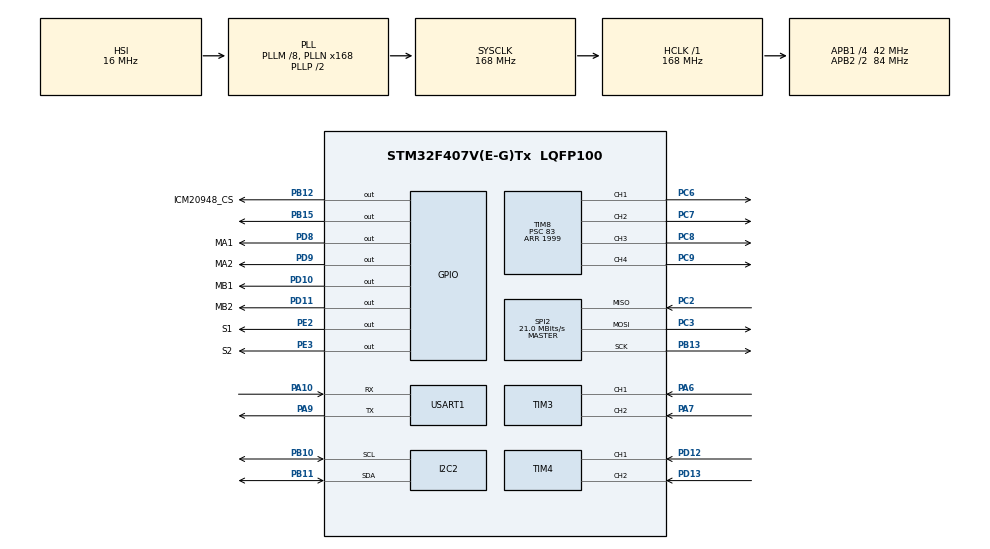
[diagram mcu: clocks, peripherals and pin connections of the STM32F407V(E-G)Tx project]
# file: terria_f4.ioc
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Dma.Request0=USART1_TX
Dma.USART1_TX.0.Direction=DMA_MEMORY_TO_PERIPH
Dma.USART1_TX.0.FIFOMode=DMA_FIFOMODE_DISABLE
Dma.USART1_TX.0.Instance=DMA2_Stream7
Dma.USART1_TX.0.MemDataAlignment=DMA_MDATAALIGN_BYTE
Dma.USART1_TX.0.MemInc=DMA_MINC_ENABLE
Dma.USART1_TX.0.Mode=DMA_NORMAL
Dma.USART1_TX.0.PeriphDataAlignment=DMA_PDATAALIGN_BYTE
Dma.USART1_TX.0.PeriphInc=DMA_PINC_DISABLE
Dma.USART1_TX.0.Priority=DMA_PRIORITY_LOW
Mcu.Family=STM32F4
Mcu.Name=STM32F407V(E-G)Tx
Mcu.Package=LQFP100
NVIC.DMA2_Stream7_IRQn=true\:0\:0\:false\:false\:true\:false\:true\:true
NVIC.PriorityGroup=NVIC_PRIORITYGROUP_4
NVIC.TIM7_IRQn=true\:0\:0\:false\:false\:true\:true\:true\:true
NVIC.USART1_IRQn=true\:0\:0\:false\:false\:true\:true\:true\:true
PA10.Mode=Asynchronous
PA10.Signal=USART1_RX
PA13.Mode=Serial_Wire
PA13.Signal=SYS_JTMS-SWDIO
PA14.Mode=Serial_Wire
PA14.Signal=SYS_JTCK-SWCLK
PA6.Signal=S_TIM3_CH1
PA7.Signal=S_TIM3_CH2
PA9.Mode=Asynchronous
PA9.Signal=USART1_TX
PB10.Mode=I2C
PB10.Signal=I2C2_SCL
PB11.Mode=I2C
PB11.Signal=I2C2_SDA
PB12.GPIO_Label=ICM20948_CS
PB12.Signal=GPIO_Output
PB13.Mode=Full_Duplex_Master
PB13.Signal=SPI2_SCK
PB15.Signal=GPIO_Output
PC2.Mode=Full_Duplex_Master
PC2.Signal=SPI2_MISO
PC3.Mode=Full_Duplex_Master
PC3.Signal=SPI2_MOSI
PC6.Signal=S_TIM8_CH1
PC7.Signal=S_TIM8_CH2
PC8.Signal=S_TIM8_CH3
PC9.Signal=S_TIM8_CH4
PD10.GPIO_Label=MB1
PD10.Signal=GPIO_Output
PD11.GPIO_Label=MB2
PD11.Signal=GPIO_Output
PD12.Signal=S_TIM4_CH1
PD13.Signal=S_TIM4_CH2
PD8.GPIO_Label=MA1
PD8.Signal=GPIO_Output
PD9.GPIO_Label=MA2
PD9.Signal=GPIO_Output
PE2.GPIO_Label=S1
PE2.GPIO_Speed=GPIO_SPEED_FREQ_HIGH
PE2.PinState=GPIO_PIN_RESET
PE2.Signal=GPIO_Output
PE3.GPIO_Label=S2
PE3.GPIO_Speed=GPIO_SPEED_FREQ_HIGH
PE3.PinState=GPIO_PIN_RESET
PE3.Signal=GPIO_Output
PH0-OSC_IN.Mode=HSE-External-Oscillator
PH0-OSC_IN.Signal=RCC_OSC_IN
PH1-OSC_OUT.Mode=HSE-External-Oscillator
PH1-OSC_OUT.Signal=RCC_OSC_OUT
ProjectManager.HeapSize=0x200
ProjectManager.StackSize=0x400
ProjectManager.TargetToolchain=STM32CubeIDE
RCC.48MHZClocksFreq_Value=84000000
RCC.AHBFreq_Value=168000000
RCC.APB1CLKDivider=RCC_HCLK_DIV4
RCC.APB1Freq_Value=42000000
RCC.APB1TimFreq_Value=84000000
RCC.APB2CLKDivider=RCC_HCLK_DIV2
RCC.APB2Freq_Value=84000000
RCC.APB2TimFreq_Value=168000000
RCC.CortexFreq_Value=168000000
RCC.HCLKFreq_Value=168000000
RCC.HSE_VALUE=25000000
RCC.HSI_VALUE=16000000
RCC.LSE_VALUE=32768
RCC.PLLM=8
RCC.PLLN=168
RCC.SYSCLKFreq_VALUE=168000000
RCC.SYSCLKSource=RCC_SYSCLKSOURCE_PLLCLK
RCC.VCOOutputFreq_Value=336000000
SH.S_TIM3_CH1.0=TIM3_CH1,Encoder_Interface
SH.S_TIM3_CH2.0=TIM3_CH2,Encoder_Interface
SH.S_TIM4_CH1.0=TIM4_CH1,Encoder_Interface
SH.S_TIM4_CH2.0=TIM4_CH2,Encoder_Interface
SH.S_TIM8_CH1.0=TIM8_CH1,PWM Generation1 CH1
SH.S_TIM8_CH2.0=TIM8_CH2,PWM Generation2 CH2
SH.S_TIM8_CH3.0=TIM8_CH3,PWM Generation3 CH3
SH.S_TIM8_CH4.0=TIM8_CH4,PWM Generation4 CH4
SPI2.CalculateBaudRate=21.0 MBits/s
SPI2.Direction=SPI_DIRECTION_2LINES
SPI2.Mode=SPI_MODE_MASTER
SPI2.VirtualType=VM_MASTER
TIM7.Period=9
TIM7.Prescaler=167
TIM8.AutoReloadPreload=TIM_AUTORELOAD_PRELOAD_ENABLE
TIM8.Channel-PWM\ Generation1\ CH1=TIM_CHANNEL_1
TIM8.Channel-PWM\ Generation2\ CH2=TIM_CHANNEL_2
TIM8.Channel-PWM\ Generation3\ CH3=TIM_CHANNEL_3
TIM8.Channel-PWM\ Generation4\ CH4=TIM_CHANNEL_4
TIM8.Period=1999
TIM8.Prescaler=83
USART1.VirtualMode=VM_ASYNC
VP_TIM7_VS_ClockSourceINT.Mode=Enable_Timer
board=custom

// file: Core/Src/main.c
/* USER CODE BEGIN Header */
/**
  ******************************************************************************
  * @file           : main.c
  * @brief          : Main program body
  ******************************************************************************
  * @attention
  *
  * Copyright (c) 2024 STMicroelectronics.
  * All rights reserved.
  *
  * This software is licensed under terms that can be found in the LICENSE file
  * in the root directory of this software component.
  * If no LICENSE file comes with this software, it is provided AS-IS.
  *
  ******************************************************************************
  */
/* USER CODE END Header */
#include "main.h"

/* USER CODE BEGIN Includes */
//#include "bsp.h"
#include "motor.h"
/* USER CODE END Includes */

I2C_HandleTypeDef hi2c2;

SPI_HandleTypeDef hspi2;

TIM_HandleTypeDef htim3;
TIM_HandleTypeDef htim4;
TIM_HandleTypeDef htim7;
TIM_HandleTypeDef htim8;

UART_HandleTypeDef huart1;
DMA_HandleTypeDef hdma_usart1_tx;

/* USER CODE BEGIN PV */
int speed =1000;
/* USER CODE END PV */

void SystemClock_Config(void);
static void MX_GPIO_Init(void);
static void MX_DMA_Init(void);
static void MX_I2C2_Init(void);
static void MX_SPI2_Init(void);
static void MX_TIM3_Init(void);
static void MX_TIM4_Init(void);
static void MX_TIM7_Init(void);
static void MX_TIM8_Init(void);
static void MX_USART1_UART_Init(void);

int main(void)
{

  /* MCU Configuration--------------------------------------------------------*/

  /* Reset of all peripherals, Initializes the Flash interface and the Systick. */
                                         HAL_Init();

  /* Configure the system clock */
  SystemClock_Config();

  /* Initialize all configured peripherals */
  MX_GPIO_Init();
  MX_DMA_Init();
  MX_I2C2_Init();
  MX_SPI2_Init();
  MX_TIM3_Init();
  MX_TIM4_Init();
  MX_TIM7_Init();
  MX_TIM8_Init();
  MX_USART1_UART_Init();
  /* USER CODE BEGIN 2 */
  HAL_GPIO_WritePin(GPIOD,GPIO_PIN_9,0);
  HAL_GPIO_WritePin(GPIOD,GPIO_PIN_8,1);
  HAL_GPIO_WritePin(GPIOB,GPIO_PIN_15 ,1);
  /* USER CODE END 2 */

  /* Infinite loop */
  /* USER CODE BEGIN WHILE */
  while (1)
  {
	  htim8.Instance->CCR2 = speed;
	  HAL_Delay(1000);
	  htim8.Instance->CCR2 = speed/2;
	  HAL_Delay(1000);
	  //HAL_Delay(10);
	  //Bsp_Loop();
		//Motor_Set_Pwm(MOTOR_ID_M1, speed);
		//Motor_Set_Pwm(MOTOR_ID_M2, -(speed));
    /* USER CODE END WHILE */

  }
}

void SystemClock_Config(void)
{
  RCC_OscInitTypeDef RCC_OscInitStruct = {0};
  RCC_ClkInitTypeDef RCC_ClkInitStruct = {0};

  /** Configure the main internal regulator output voltage
  */
  __HAL_RCC_PWR_CLK_ENABLE();
  __HAL_PWR_VOLTAGESCALING_CONFIG(PWR_REGULATOR_VOLTAGE_SCALE1);

  /** Initializes the RCC Oscillators according to the specified parameters
  * in the RCC_OscInitTypeDef structure.
  */
  RCC_OscInitStruct.OscillatorType = RCC_OSCILLATORTYPE_HSI;
  RCC_OscInitStruct.HSIState = RCC_HSI_ON;
  RCC_OscInitStruct.HSICalibrationValue = RCC_HSICALIBRATION_DEFAULT;
  RCC_OscInitStruct.PLL.PLLState = RCC_PLL_ON;
  RCC_OscInitStruct.PLL.PLLSource = RCC_PLLSOURCE_HSI;
  RCC_OscInitStruct.PLL.PLLM = 8;
  RCC_OscInitStruct.PLL.PLLN = 168;
  RCC_OscInitStruct.PLL.PLLP = RCC_PLLP_DIV2;
  RCC_OscInitStruct.PLL.PLLQ = 4;
  if (HAL_RCC_OscConfig(&RCC_OscInitStruct) != HAL_OK)
  {
    Error_Handler();
  }

  /** Initializes the CPU, AHB and APB buses clocks
  */
  RCC_ClkInitStruct.ClockType = RCC_CLOCKTYPE_HCLK|RCC_CLOCKTYPE_SYSCLK
                              |RCC_CLOCKTYPE_PCLK1|RCC_CLOCKTYPE_PCLK2;
  RCC_ClkInitStruct.SYSCLKSource = RCC_SYSCLKSOURCE_PLLCLK;
  RCC_ClkInitStruct.AHBCLKDivider = RCC_SYSCLK_DIV1;
  RCC_ClkInitStruct.APB1CLKDivider = RCC_HCLK_DIV4;
  RCC_ClkInitStruct.APB2CLKDivider = RCC_HCLK_DIV2;

  if (HAL_RCC_ClockConfig(&RCC_ClkInitStruct, FLASH_LATENCY_5) != HAL_OK)
  {
    Error_Handler();
  }
}

static void MX_I2C2_Init(void)
{

  hi2c2.Instance = I2C2;
  hi2c2.Init.ClockSpeed = 100000;
  hi2c2.Init.DutyCycle = I2C_DUTYCYCLE_2;
  hi2c2.Init.OwnAddress1 = 0;
  hi2c2.Init.AddressingMode = I2C_ADDRESSINGMODE_7BIT;
  hi2c2.Init.DualAddressMode = I2C_DUALADDRESS_DISABLE;
  hi2c2.Init.OwnAddress2 = 0;
  hi2c2.Init.GeneralCallMode = I2C_GENERALCALL_DISABLE;
  hi2c2.Init.NoStretchMode = I2C_NOSTRETCH_DISABLE;
  if (HAL_I2C_Init(&hi2c2) != HAL_OK)
  {
    Error_Handler();
  }

}

static void MX_SPI2_Init(void)
{

  /* SPI2 parameter configuration*/
  hspi2.Instance = SPI2;
  hspi2.Init.Mode = SPI_MODE_MASTER;
  hspi2.Init.Direction = SPI_DIRECTION_2LINES;
  hspi2.Init.DataSize = SPI_DATASIZE_8BIT;
  hspi2.Init.CLKPolarity = SPI_POLARITY_LOW;
  hspi2.Init.CLKPhase = SPI_PHASE_1EDGE;
  hspi2.Init.NSS = SPI_NSS_SOFT;
  hspi2.Init.BaudRatePrescaler = SPI_BAUDRATEPRESCALER_2;
  hspi2.Init.FirstBit = SPI_FIRSTBIT_MSB;
  hspi2.Init.TIMode = SPI_TIMODE_DISABLE;
  hspi2.Init.CRCCalculation = SPI_CRCCALCULATION_DISABLE;
  hspi2.Init.CRCPolynomial = 10;
  if (HAL_SPI_Init(&hspi2) != HAL_OK)
  {
    Error_Handler();
  }

}

static void MX_TIM3_Init(void)
{

  TIM_Encoder_InitTypeDef sConfig = {0};
  TIM_MasterConfigTypeDef sMasterConfig = {0};

  htim3.Instance = TIM3;
  htim3.Init.Prescaler = 0;
  htim3.Init.CounterMode = TIM_COUNTERMODE_UP;
  htim3.Init.Period = 65535;
  htim3.Init.ClockDivision = TIM_CLOCKDIVISION_DIV1;
  htim3.Init.AutoReloadPreload = TIM_AUTORELOAD_PRELOAD_DISABLE;
  sConfig.EncoderMode = TIM_ENCODERMODE_TI1;
  sConfig.IC1Polarity = TIM_ICPOLARITY_RISING;
  sConfig.IC1Selection = TIM_ICSELECTION_DIRECTTI;
  sConfig.IC1Prescaler = TIM_ICPSC_DIV1;
  sConfig.IC1Filter = 0;
  sConfig.IC2Polarity = TIM_ICPOLARITY_RISING;
  sConfig.IC2Selection = TIM_ICSELECTION_DIRECTTI;
  sConfig.IC2Prescaler = TIM_ICPSC_DIV1;
  sConfig.IC2Filter = 0;
  if (HAL_TIM_Encoder_Init(&htim3, &sConfig) != HAL_OK)
  {
    Error_Handler();
  }
  sMasterConfig.MasterOutputTrigger = TIM_TRGO_RESET;
  sMasterConfig.MasterSlaveMode = TIM_MASTERSLAVEMODE_DISABLE;
  if (HAL_TIMEx_MasterConfigSynchronization(&htim3, &sMasterConfig) != HAL_OK)
  {
    Error_Handler();
  }

}

static void MX_TIM4_Init(void)
{

  TIM_Encoder_InitTypeDef sConfig = {0};
  TIM_MasterConfigTypeDef sMasterConfig = {0};

  htim4.Instance = TIM4;
  htim4.Init.Prescaler = 0;
  htim4.Init.CounterMode = TIM_COUNTERMODE_UP;
  htim4.Init.Period = 65535;
  htim4.Init.ClockDivision = TIM_CLOCKDIVISION_DIV1;
  htim4.Init.AutoReloadPreload = TIM_AUTORELOAD_PRELOAD_DISABLE;
  sConfig.EncoderMode = TIM_ENCODERMODE_TI1;
  sConfig.IC1Polarity = TIM_ICPOLARITY_RISING;
  sConfig.IC1Selection = TIM_ICSELECTION_DIRECTTI;
  sConfig.IC1Prescaler = TIM_ICPSC_DIV1;
  sConfig.IC1Filter = 0;
  sConfig.IC2Polarity = TIM_ICPOLARITY_RISING;
  sConfig.IC2Selection = TIM_ICSELECTION_DIRECTTI;
  sConfig.IC2Prescaler = TIM_ICPSC_DIV1;
  sConfig.IC2Filter = 0;
  if (HAL_TIM_Encoder_Init(&htim4, &sConfig) != HAL_OK)
  {
    Error_Handler();
  }
  sMasterConfig.MasterOutputTrigger = TIM_TRGO_RESET;
  sMasterConfig.MasterSlaveMode = TIM_MASTERSLAVEMODE_DISABLE;
  if (HAL_TIMEx_MasterConfigSynchronization(&htim4, &sMasterConfig) != HAL_OK)
  {
    Error_Handler();
  }

}

static void MX_TIM7_Init(void)
{

  TIM_MasterConfigTypeDef sMasterConfig = {0};

  htim7.Instance = TIM7;
  htim7.Init.Prescaler = 167;
  htim7.Init.CounterMode = TIM_COUNTERMODE_UP;
  htim7.Init.Period = 9;
  htim7.Init.AutoReloadPreload = TIM_AUTORELOAD_PRELOAD_DISABLE;
  if (HAL_TIM_Base_Init(&htim7) != HAL_OK)
  {
    Error_Handler();
  }
  sMasterConfig.MasterOutputTrigger = TIM_TRGO_RESET;
  sMasterConfig.MasterSlaveMode = TIM_MASTERSLAVEMODE_DISABLE;
  if (HAL_TIMEx_MasterConfigSynchronization(&htim7, &sMasterConfig) != HAL_OK)
  {
    Error_Handler();
  }
  /* USER CODE BEGIN TIM7_Init 2 */
  HAL_TIM_Base_Start_IT(&htim7);
  /* USER CODE END TIM7_Init 2 */

}

static void MX_TIM8_Init(void)
{

  TIM_MasterConfigTypeDef sMasterConfig = {0};
  TIM_OC_InitTypeDef sConfigOC = {0};
  TIM_BreakDeadTimeConfigTypeDef sBreakDeadTimeConfig = {0};

  htim8.Instance = TIM8;
  htim8.Init.Prescaler = 83;
  htim8.Init.CounterMode = TIM_COUNTERMODE_UP;
  htim8.Init.Period = 1999;
  htim8.Init.ClockDivision = TIM_CLOCKDIVISION_DIV1;
  htim8.Init.RepetitionCounter = 0;
  htim8.Init.AutoReloadPreload = TIM_AUTORELOAD_PRELOAD_ENABLE;
  if (HAL_TIM_PWM_Init(&htim8) != HAL_OK)
  {
    Error_Handler();
  }
  sMasterConfig.MasterOutputTrigger = TIM_TRGO_RESET;
  sMasterConfig.MasterSlaveMode = TIM_MASTERSLAVEMODE_DISABLE;
  if (HAL_TIMEx_MasterConfigSynchronization(&htim8, &sMasterConfig) != HAL_OK)
  {
    Error_Handler();
  }
  sConfigOC.OCMode = TIM_OCMODE_PWM1;
  sConfigOC.Pulse = 0;
  sConfigOC.OCPolarity = TIM_OCPOLARITY_HIGH;
  sConfigOC.OCNPolarity = TIM_OCNPOLARITY_HIGH;
  sConfigOC.OCFastMode = TIM_OCFAST_DISABLE;
  sConfigOC.OCIdleState = TIM_OCIDLESTATE_RESET;
  sConfigOC.OCNIdleState = TIM_OCNIDLESTATE_RESET;
  if (HAL_TIM_PWM_ConfigChannel(&htim8, &sConfigOC, TIM_CHANNEL_1) != HAL_OK)
  {
    Error_Handler();
  }
  if (HAL_TIM_PWM_ConfigChannel(&htim8, &sConfigOC, TIM_CHANNEL_2) != HAL_OK)
  {
    Error_Handler();
  }
  if (HAL_TIM_PWM_ConfigChannel(&htim8, &sConfigOC, TIM_CHANNEL_3) != HAL_OK)
  {
    Error_Handler();
  }
  if (HAL_TIM_PWM_ConfigChannel(&htim8, &sConfigOC, TIM_CHANNEL_4) != HAL_OK)
  {
    Error_Handler();
  }
  sBreakDeadTimeConfig.OffStateRunMode = TIM_OSSR_DISABLE;
  sBreakDeadTimeConfig.OffStateIDLEMode = TIM_OSSI_DISABLE;
  sBreakDeadTimeConfig.LockLevel = TIM_LOCKLEVEL_OFF;
  sBreakDeadTimeConfig.DeadTime = 0;
  sBreakDeadTimeConfig.BreakState = TIM_BREAK_DISABLE;
  sBreakDeadTimeConfig.BreakPolarity = TIM_BREAKPOLARITY_HIGH;
  sBreakDeadTimeConfig.AutomaticOutput = TIM_AUTOMATICOUTPUT_DISABLE;
  if (HAL_TIMEx_ConfigBreakDeadTime(&htim8, &sBreakDeadTimeConfig) != HAL_OK)
  {
    Error_Handler();
  }
  /* USER CODE BEGIN TIM8_Init 2 */
  __HAL_TIM_SET_COMPARE(&htim8, TIM_CHANNEL_1, 0);
  __HAL_TIM_SET_COMPARE(&htim8, TIM_CHANNEL_2, 0);
  __HAL_TIM_SET_COMPARE(&htim8, TIM_CHANNEL_3, 0);
  __HAL_TIM_SET_COMPARE(&htim8, TIM_CHANNEL_4, 0);
  HAL_TIM_PWM_Start(&htim8, TIM_CHANNEL_1);
  HAL_TIM_PWM_Start(&htim8, TIM_CHANNEL_2);
  HAL_TIM_PWM_Start(&htim8, TIM_CHANNEL_3);
  HAL_TIM_PWM_Start(&htim8, TIM_CHANNEL_4);
  /* USER CODE END TIM8_Init 2 */
  HAL_TIM_MspPostInit(&htim8);

}

static void MX_USART1_UART_Init(void)
{

  huart1.Instance = USART1;
  huart1.Init.BaudRate = 115200;
  huart1.Init.WordLength = UART_WORDLENGTH_8B;
  huart1.Init.StopBits = UART_STOPBITS_1;
  huart1.Init.Parity = UART_PARITY_NONE;
  huart1.Init.Mode = UART_MODE_TX_RX;
  huart1.Init.HwFlowCtl = UART_HWCONTROL_NONE;
  huart1.Init.OverSampling = UART_OVERSAMPLING_16;
  if (HAL_UART_Init(&huart1) != HAL_OK)
  {
    Error_Handler();
  }

}

static void MX_DMA_Init(void)
{

  /* DMA controller clock enable */
  __HAL_RCC_DMA2_CLK_ENABLE();

  /* DMA interrupt init */
  /* DMA2_Stream7_IRQn interrupt configuration */
  HAL_NVIC_SetPriority(DMA2_Stream7_IRQn, 0, 0);
  HAL_NVIC_EnableIRQ(DMA2_Stream7_IRQn);

}

static void MX_GPIO_Init(void)
{
  GPIO_InitTypeDef GPIO_InitStruct = {0};

  /* GPIO Ports Clock Enable */
  __HAL_RCC_GPIOE_CLK_ENABLE();
  __HAL_RCC_GPIOH_CLK_ENABLE();
  __HAL_RCC_GPIOC_CLK_ENABLE();
  __HAL_RCC_GPIOA_CLK_ENABLE();
  __HAL_RCC_GPIOB_CLK_ENABLE();
  __HAL_RCC_GPIOD_CLK_ENABLE();

  /*Configure GPIO pin Output Level */
  HAL_GPIO_WritePin(GPIOE, S1_Pin|S2_Pin, GPIO_PIN_RESET);

  /*Configure GPIO pin Output Level */
  HAL_GPIO_WritePin(GPIOB, ICM20948_CS_Pin|GPIO_PIN_15, GPIO_PIN_RESET);

  /*Configure GPIO pin Output Level */
  HAL_GPIO_WritePin(GPIOD, MA1_Pin|MA2_Pin|MB1_Pin|MB2_Pin, GPIO_PIN_RESET);

  /*Configure GPIO pins : S1_Pin S2_Pin */
  GPIO_InitStruct.Pin = S1_Pin|S2_Pin;
  GPIO_InitStruct.Mode = GPIO_MODE_OUTPUT_PP;
  GPIO_InitStruct.Pull = GPIO_NOPULL;
  GPIO_InitStruct.Speed = GPIO_SPEED_FREQ_HIGH;
  HAL_GPIO_Init(GPIOE, &GPIO_InitStruct);

  /*Configure GPIO pins : ICM20948_CS_Pin PB15 */
  GPIO_InitStruct.Pin = ICM20948_CS_Pin|GPIO_PIN_15;
  GPIO_InitStruct.Mode = GPIO_MODE_OUTPUT_PP;
  GPIO_InitStruct.Pull = GPIO_NOPULL;
  GPIO_InitStruct.Speed = GPIO_SPEED_FREQ_LOW;
  HAL_GPIO_Init(GPIOB, &GPIO_InitStruct);

  /*Configure GPIO pins : MA1_Pin MA2_Pin MB1_Pin MB2_Pin */
  GPIO_InitStruct.Pin = MA1_Pin|MA2_Pin|MB1_Pin|MB2_Pin;
  GPIO_InitStruct.Mode = GPIO_MODE_OUTPUT_PP;
  GPIO_InitStruct.Pull = GPIO_NOPULL;
  GPIO_InitStruct.Speed = GPIO_SPEED_FREQ_LOW;
  HAL_GPIO_Init(GPIOD, &GPIO_InitStruct);

}

void Error_Handler(void)
{
  __disable_irq();
  while (1)
  {
  }
}
